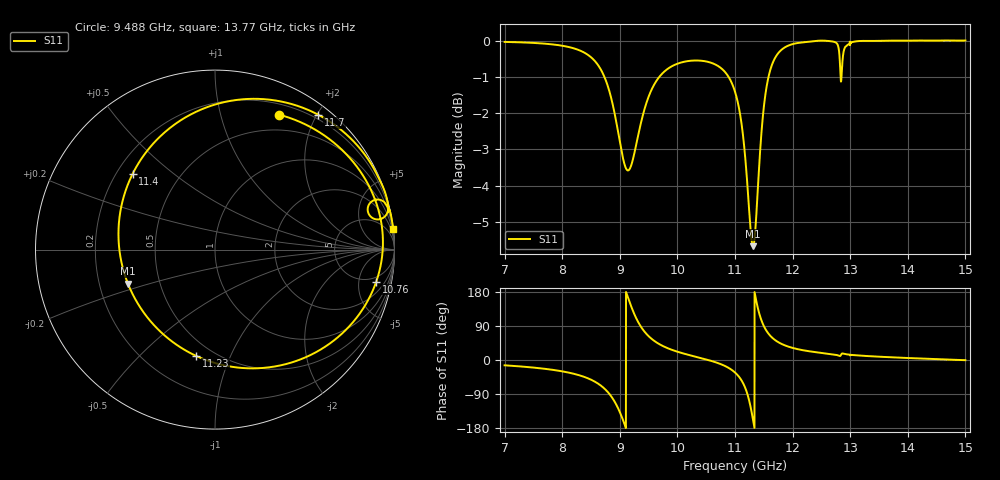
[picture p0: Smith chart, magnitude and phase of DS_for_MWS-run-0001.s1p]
! TOUCHSTONE file generated by CST DESIGN STUDIO
! Date and time: Mon Feb 10 16:53:56 2025
! Project name: C:\Work\MatlabApps\UnitCellType2OptimizationMatlab\CST\unitcell.cst
! Tree item: Tasks\Sweep1\SPara1\S-Parameters
! Header version: 2024
! Port assignment regex: !\s*Touchstone port\s*([0-9]+)\s*=\s*(CST MWS port|CST DES external port|CST DES block port)\s*(.+)\s* \(\"(.*)\"\)(\s*mode\s*([0-9]+))?.*
! Touchstone port assignment:
! Touchstone port 1 = CST DES external port 1 ("")
# GHz S MA R 50
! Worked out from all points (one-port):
!   4001 points, 7 GHz to 15 GHz, reference 50 ohm
!   lowest |S11| = -5.7 dB at 11.31 GHz (marker M1), VSWR 3.17, Z = 16.3 - j8.5 ohm
!   |S11| at or under -10 dB: nowhere
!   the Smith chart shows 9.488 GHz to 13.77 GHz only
!   S11 on the Smith chart (normalised r, x): 9.488 GHz: 0.31, +1.53; 10.76 GHz: 3.82, -8.47; 11.23 GHz: 0.41, -0.76; 11.4 GHz: 0.26, +0.37; 11.7 GHz: 0.14, +2.02; 13.77 GHz: 0, +17
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7  0.9956 -14.0
8  0.9836 -29.9
8.344  0.9659 -42.6
8.588  0.9328 -59.0
8.838  0.8406 -93.3
9  0.7255 -137.4
9.124  0.6634 172.6
9.258  0.7024 119.0
9.358  0.7646 90.0
9.488  0.8318 64.7
9.702  0.8943 40.5
10  0.929 21.9
10.758  0.9161 -11.2
11  0.8502 -33.0
11.122  0.7592 -56.0
11.234  0.6021 -99.9
11.314  0.5209 -158.6
11.396  0.6238 137.3
11.45  0.7302 108.5
11.508  0.8196 87.3
11.596  0.9008 66.7
11.696  0.9464 52.5
12  0.9887 31.9
12.8  0.9749 11.6
13  0.9921 13.0
13.774  0.9997 6.7
14  0.9996 5.2
15  1 -0.5
